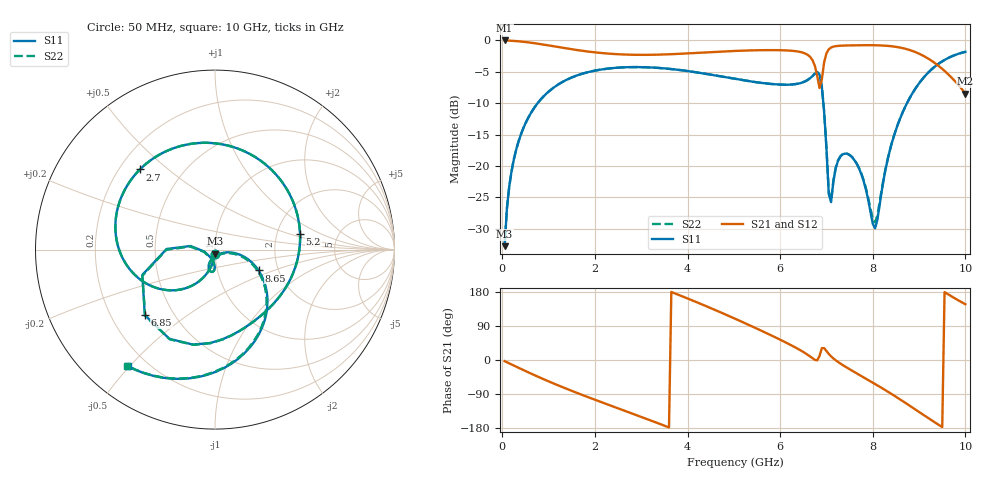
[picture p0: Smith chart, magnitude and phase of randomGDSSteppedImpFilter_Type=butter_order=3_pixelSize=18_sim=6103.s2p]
! freq	dB(S11)	phase(S11)	dB(S12)	phase(S12)
!  dB(S21)	phase(S21)	dB(S22)	phase(S22)
!S-par simulation data
#  GHz  S  DB  R 50
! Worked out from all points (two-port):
!   200 points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, 50 MHz to 10 GHz, reference 50 ohm
!   highest |S21| = -0.01 dB at 50 MHz (marker M1); lowest = -8.5 dB at 10 GHz (marker M2)
!   |S21| within 3 dB of the highest: start of sweep to 6.685 GHz; 6.966 GHz to 9.221 GHz (2.255 GHz wide, 27.9 % of centre)
!   lowest |S11| = -32.8 dB at 50 MHz (marker M3), VSWR 1.05, Z = 49.8 - j2.29 ohm
!   |S11| at or under -10 dB: start of sweep to 763.7 MHz; 6.933 GHz to 8.739 GHz (1.806 GHz wide, 23.1 % of centre)
!   |S22| runs from -32.8 to -1.8 dB; largest |S21 - S12| = 0
!   S11 on the Smith chart (normalised r, x): 50 MHz: 1.00, -0.05; 2.7 GHz: 0.28, +0.40; 5.2 GHz: 2.70, +0.62; 6.85 GHz: 0.35, -0.35; 8.65 GHz: 1.58, -0.40; 10 GHz: 0.13, -0.50
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0.05  -32.78 -93.1  -0.01 -3.0  -0.01 -3.0  -32.78 -93.1
0.2  -20.82 -102.2  -0.06 -11.8  -0.06 -11.8  -20.82 -102.2
0.5  -13.22 -119.6  -0.25 -29.1  -0.25 -29.1  -13.22 -119.7
1.75  -5.25 176.2  -1.68 -93.3  -1.68 -93.3  -5.25 176.1
2.7  -4.26 133.2  -2.26 -136.4  -2.26 -136.4  -4.27 133.0
3.4  -4.39 101.2  -2.26 -168.6  -2.26 -168.6  -4.39 101.0
4.2  -5.09 62.6  -1.99 152.4  -1.99 152.4  -5.09 62.3
5.05  -6.16 18.6  -1.67 107.7  -1.67 107.7  -6.16 18.3
5.2  -6.34 10.5  -1.62 99.4  -1.62 99.4  -6.34 10.2
5.95  -7.02 -31.7  -1.55 56.7  -1.55 56.7  -7.02 -31.9
6.7  -5.67 -92.8  -3.16 4.5  -3.16 4.5  -5.65 -92.6
6.85  -5.43 -137.0  -7.58 10.7  -7.58 10.7  -5.41 -136.5
6.95  -11.38 179.3  -3.46 31.4  -3.46 31.4  -11.32 -179.8
7.05  -24.49 -169.0  -1.42 16.0  -1.42 16.0  -24.12 -167.7
7.1  -25.76 -114.7  -1.13 9.6  -1.13 9.6  -25.46 -115.9
7.25  -19.16 -91.3  -0.87 -5.2  -0.87 -5.2  -19.12 -91.6
7.5  -18.27 -103.4  -0.79 -24.4  -0.79 -24.4  -18.23 -103.0
8.05  -29.93 -60.1  -0.77 -63.2  -0.77 -63.2  -28.98 -61.1
8.35  -18.09 -10.5  -0.89 -85.4  -0.89 -85.4  -18.01 -12.8
8.65  -11.39 -25.6  -1.23 -108.8  -1.23 -108.8  -11.37 -27.0
9.25  -4.75 -70.4  -3.14 -157.4  -3.14 -157.4  -4.75 -71.2
10  -1.82 -126.7  -8.47 147.1  -8.47 147.1  -1.82 -127.2
